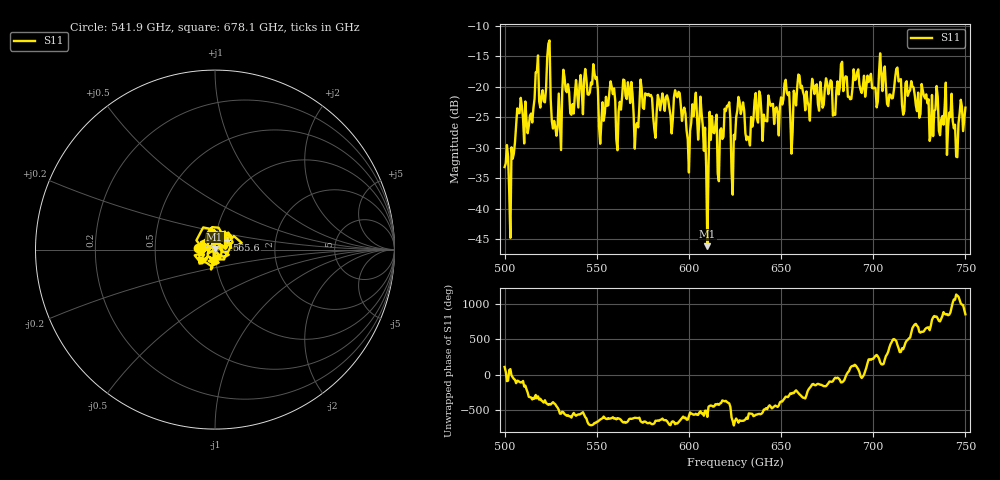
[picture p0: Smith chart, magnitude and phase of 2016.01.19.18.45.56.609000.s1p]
!Created with skrf (http://scikit-rf.org).
# GHz S RI R 50.0
!freq ReS11 ImS11
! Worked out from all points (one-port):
!   401 points, 500 GHz to 750 GHz, reference 50 ohm
!   lowest |S11| = -46.1 dB at 610 GHz (marker M1), VSWR 1.01, Z = 49.7 + j0.42 ohm
!   |S11| at or under -10 dB: start of sweep to end of sweep
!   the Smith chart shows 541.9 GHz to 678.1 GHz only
!   S11 on the Smith chart (normalised r, x): 541.9 GHz: 0.83, +0.01; 565.6 GHz: 1.14, +0.12; 678.1 GHz: 0.99, -0.11
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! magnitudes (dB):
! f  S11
! 500 GHz  -33.1
! 503.8 GHz  -29.9
! 508.1 GHz  -24.3
! 513.8 GHz  -24.7
! 523.1 GHz  -15.1
! 526.9 GHz  -25.6
! 531.2 GHz  -20.8
! 541.9 GHz  -20.5
! 562.5 GHz  -22.4
! 565.6 GHz  -21.5
! 571.2 GHz  -26.3
! 575 GHz  -23.4
! 593.8 GHz  -21.7
! 600 GHz  -34.0
! 607.5 GHz  -26.3
! 610 GHz  -46.1
! 620.6 GHz  -23.1
! 625 GHz  -28.6
! 628.1 GHz  -24.4
! 631.9 GHz  -28.1
! 653.1 GHz  -21.0
! 656.2 GHz  -27.4
! 660 GHz  -18.2
! 678.1 GHz  -24.7
! 687.5 GHz  -22.0
! 718.8 GHz  -21.5
! 745 GHz  -31.4
! 750 GHz  -23.4
